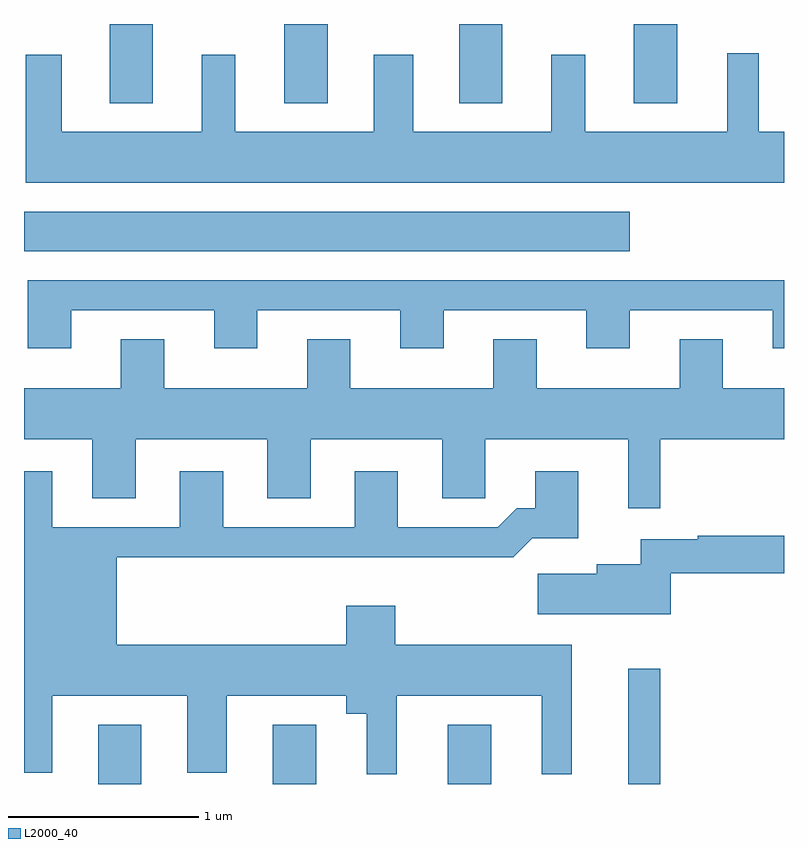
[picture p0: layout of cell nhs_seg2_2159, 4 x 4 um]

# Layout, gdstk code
import gdstk
lib = gdstk.Library(unit=1e-6, precision=1e-09)
def R(c, l, rs):  # rectangles x0, y0, x1, y1
    for r in rs: c.add(gdstk.rectangle(r[:2], r[2:], *l))
def A(c, l, x, y, w, h, nx, ny, dx, dy):  # array of equal rectangles
    R(c, l, [(x+i*dx, y+j*dy, x+i*dx+w, y+j*dy+h) for i in range(nx) for j in range(ny)])
def P(c, l, *ps):  # polygons
    for p in ps: c.add(gdstk.Polygon(p, *l))
L2000_40 = (2000, 40)

nhs_seg2_2159 = lib.new_cell('nhs_seg2_2159')
A(nhs_seg2_2159, L2000_40, 248.001, 1079.802, 0.228, 0.312, 3, 1, 0.92, 0)
A(nhs_seg2_2159, L2000_40, 248.061, 1083.386, 0.228, 0.416, 4, 1, 0.92, 0)
R(nhs_seg2_2159, L2000_40, [(250.791,1079.802,250.959,1080.408), (247.611,1082.606,250.799,1082.814)])
P(nhs_seg2_2159, L2000_40, [(251.611,1083.234),(251.479,1083.234),(251.479,1083.648),(251.311,1083.648),(251.311,1083.234),(250.564,1083.234),(250.564,1083.639),(250.386,1083.639),(250.386,1083.234),(249.659,1083.234),(249.659,1083.639),(249.451,1083.639),(249.451,1083.234),(248.724,1083.234),(248.724,1083.639),(248.546,1083.639),(248.546,1083.234),(247.809,1083.234),(247.809,1083.639),(247.621,1083.639),(247.621,1082.966),(251.611,1082.966)],
  [(247.859,1082.296),(248.611,1082.296),(248.611,1082.096),(248.839,1082.096),(248.839,1082.296),(249.591,1082.296),(249.591,1082.096),(249.819,1082.096),(249.819,1082.296),(250.571,1082.296),(250.571,1082.096),(250.799,1082.096),(250.799,1082.296),(251.551,1082.296),(251.551,1082.096),(251.611,1082.096),(251.611,1082.454),(247.631,1082.454),(247.631,1082.096),(247.859,1082.096)],
  [(250.959,1081.616),(251.611,1081.616),(251.611,1081.884),(251.289,1081.884),(251.289,1082.144),(251.061,1082.144),(251.061,1081.884),(250.309,1081.884),(250.309,1082.144),(250.081,1082.144),(250.081,1081.884),(249.329,1081.884),(249.329,1082.144),(249.101,1082.144),(249.101,1081.884),(248.349,1081.884),(248.349,1082.144),(248.121,1082.144),(248.121,1081.884),(247.611,1081.884),(247.611,1081.616),(247.971,1081.616),(247.971,1081.306),(248.199,1081.306),(248.199,1081.616),(248.891,1081.616),(248.891,1081.306),(249.119,1081.306),(249.119,1081.616),(249.811,1081.616),(249.811,1081.306),(250.039,1081.306),(250.039,1081.616),(250.791,1081.616),(250.791,1081.253),(250.959,1081.253)],
  [(249.574,1080.266),(250.336,1080.266),(250.336,1079.853),(250.494,1079.853),(250.494,1080.534),(249.564,1080.534),(249.564,1080.739),(249.306,1080.739),(249.306,1080.534),(248.099,1080.534),(248.099,1080.996),(250.187,1080.996),(250.287,1081.096),(250.529,1081.096),(250.529,1081.449),(250.301,1081.449),(250.301,1081.254),(250.204,1081.254),(250.104,1081.154),(249.579,1081.154),(249.579,1081.449),(249.351,1081.449),(249.351,1081.154),(248.659,1081.154),(248.659,1081.449),(248.431,1081.449),(248.431,1081.154),(247.759,1081.154),(247.759,1081.449),(247.611,1081.449),(247.611,1079.861),(247.759,1079.861),(247.759,1080.266),(248.471,1080.266),(248.471,1079.861),(248.679,1079.861),(248.679,1080.266),(249.306,1080.266),(249.306,1080.171),(249.416,1080.171),(249.416,1079.853),(249.574,1079.853)],
  [(251.014,1080.911),(251.611,1080.911),(251.611,1081.109),(251.156,1081.109),(251.156,1081.089),(250.856,1081.089),(250.856,1080.959),(250.626,1080.959),(250.626,1080.909),(250.316,1080.909),(250.316,1080.696),(251.014,1080.696)])

lib.write_gds('nhs_seg2_2159.gds')
